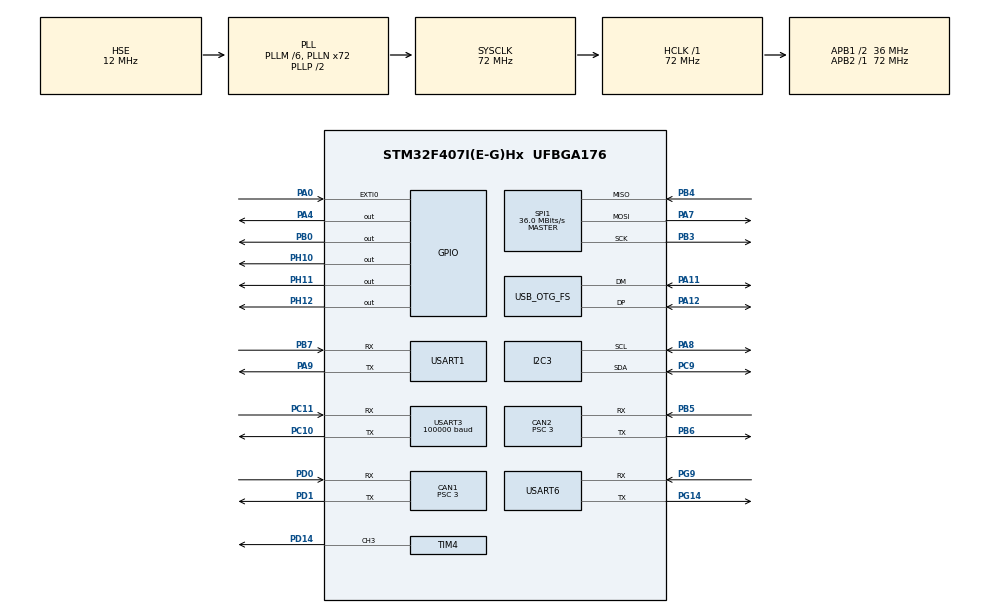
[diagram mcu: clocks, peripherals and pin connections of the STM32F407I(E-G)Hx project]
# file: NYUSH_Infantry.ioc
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CAN1.BS1=CAN_BS1_9TQ
CAN1.BS2=CAN_BS2_2TQ
CAN1.CalculateBaudRate=999999
CAN1.CalculateTimeBit=1000
CAN1.CalculateTimeQuantum=83.33333333333334
CAN1.Prescaler=3
CAN2.BS1=CAN_BS1_9TQ
CAN2.BS2=CAN_BS2_2TQ
CAN2.CalculateBaudRate=999999
CAN2.CalculateTimeBit=1000
CAN2.CalculateTimeQuantum=83.33333333333334
CAN2.Prescaler=3
Dma.Request0=SPI1_RX
Dma.Request1=SPI1_TX
Dma.Request2=USART1_TX
Dma.Request3=USART3_RX
Dma.Request4=USART1_RX
Dma.SPI1_RX.0.Direction=DMA_PERIPH_TO_MEMORY
Dma.SPI1_RX.0.FIFOMode=DMA_FIFOMODE_DISABLE
Dma.SPI1_RX.0.Instance=DMA2_Stream2
Dma.SPI1_RX.0.MemDataAlignment=DMA_MDATAALIGN_BYTE
Dma.SPI1_RX.0.MemInc=DMA_MINC_ENABLE
Dma.SPI1_RX.0.Mode=DMA_NORMAL
Dma.SPI1_RX.0.PeriphDataAlignment=DMA_PDATAALIGN_BYTE
Dma.SPI1_RX.0.PeriphInc=DMA_PINC_DISABLE
Dma.SPI1_RX.0.Priority=DMA_PRIORITY_VERY_HIGH
Dma.SPI1_TX.1.Direction=DMA_MEMORY_TO_PERIPH
Dma.SPI1_TX.1.FIFOMode=DMA_FIFOMODE_DISABLE
Dma.SPI1_TX.1.Instance=DMA2_Stream3
Dma.SPI1_TX.1.MemDataAlignment=DMA_MDATAALIGN_BYTE
Dma.SPI1_TX.1.MemInc=DMA_MINC_ENABLE
Dma.SPI1_TX.1.Mode=DMA_NORMAL
Dma.SPI1_TX.1.PeriphDataAlignment=DMA_PDATAALIGN_BYTE
Dma.SPI1_TX.1.PeriphInc=DMA_PINC_DISABLE
Dma.SPI1_TX.1.Priority=DMA_PRIORITY_HIGH
Dma.USART1_RX.4.Direction=DMA_PERIPH_TO_MEMORY
Dma.USART1_RX.4.FIFOMode=DMA_FIFOMODE_DISABLE
Dma.USART1_RX.4.Instance=DMA2_Stream5
Dma.USART1_RX.4.MemDataAlignment=DMA_MDATAALIGN_BYTE
Dma.USART1_RX.4.MemInc=DMA_MINC_ENABLE
Dma.USART1_RX.4.Mode=DMA_NORMAL
Dma.USART1_RX.4.PeriphDataAlignment=DMA_PDATAALIGN_BYTE
Dma.USART1_RX.4.PeriphInc=DMA_PINC_DISABLE
Dma.USART1_RX.4.Priority=DMA_PRIORITY_VERY_HIGH
Dma.USART1_TX.2.Direction=DMA_MEMORY_TO_PERIPH
Dma.USART1_TX.2.FIFOMode=DMA_FIFOMODE_DISABLE
Dma.USART1_TX.2.Instance=DMA2_Stream7
Dma.USART1_TX.2.MemDataAlignment=DMA_MDATAALIGN_BYTE
Dma.USART1_TX.2.MemInc=DMA_MINC_ENABLE
Dma.USART1_TX.2.Mode=DMA_NORMAL
Dma.USART1_TX.2.PeriphDataAlignment=DMA_PDATAALIGN_BYTE
Dma.USART1_TX.2.PeriphInc=DMA_PINC_DISABLE
Dma.USART1_TX.2.Priority=DMA_PRIORITY_VERY_HIGH
Dma.USART3_RX.3.Direction=DMA_PERIPH_TO_MEMORY
Dma.USART3_RX.3.FIFOMode=DMA_FIFOMODE_DISABLE
Dma.USART3_RX.3.Instance=DMA1_Stream1
Dma.USART3_RX.3.MemDataAlignment=DMA_MDATAALIGN_BYTE
Dma.USART3_RX.3.MemInc=DMA_MINC_ENABLE
Dma.USART3_RX.3.Mode=DMA_NORMAL
Dma.USART3_RX.3.PeriphDataAlignment=DMA_PDATAALIGN_BYTE
Dma.USART3_RX.3.PeriphInc=DMA_PINC_DISABLE
Dma.USART3_RX.3.Priority=DMA_PRIORITY_LOW
I2C3.I2C_Mode=I2C_Fast
Mcu.Family=STM32F4
Mcu.Name=STM32F407I(E-G)Hx
Mcu.Package=UFBGA176
NVIC.CAN1_RX0_IRQn=true\:0\:0\:false\:false\:true\:true\:true\:true
NVIC.CAN2_RX0_IRQn=true\:0\:0\:false\:false\:true\:true\:true\:true
NVIC.DMA1_Stream1_IRQn=true\:5\:0\:false\:false\:true\:false\:true\:true
NVIC.DMA2_Stream2_IRQn=true\:0\:0\:false\:false\:true\:false\:true\:true
NVIC.DMA2_Stream3_IRQn=true\:0\:0\:false\:false\:true\:false\:true\:true
NVIC.DMA2_Stream5_IRQn=true\:0\:0\:false\:false\:true\:false\:true\:true
NVIC.DMA2_Stream7_IRQn=true\:0\:0\:false\:false\:true\:false\:true\:true
NVIC.EXTI0_IRQn=true\:0\:0\:false\:false\:true\:true\:true\:true
NVIC.OTG_FS_IRQn=true\:0\:0\:false\:false\:true\:false\:true\:true
NVIC.PriorityGroup=NVIC_PRIORITYGROUP_4
NVIC.USART1_IRQn=true\:0\:0\:false\:false\:true\:true\:true\:true
NVIC.USART3_IRQn=true\:5\:0\:false\:false\:true\:true\:true\:true
NVIC.USART6_IRQn=true\:0\:0\:false\:false\:true\:true\:true\:true
PA0-WKUP.Signal=GPXTI0
PA11.Mode=Device_Only
PA11.Signal=USB_OTG_FS_DM
PA12.Mode=Device_Only
PA12.Signal=USB_OTG_FS_DP
PA13.Mode=Serial_Wire
PA13.Signal=SYS_JTMS-SWDIO
PA14.Mode=Serial_Wire
PA14.Signal=SYS_JTCK-SWCLK
PA4.Signal=GPIO_Output
PA7.Mode=Full_Duplex_Master
PA7.Signal=SPI1_MOSI
PA8.Mode=I2C
PA8.Signal=I2C3_SCL
PA9.Mode=Asynchronous
PA9.Signal=USART1_TX
PB0.Signal=GPIO_Output
PB3.Mode=Full_Duplex_Master
PB3.Signal=SPI1_SCK
PB4.Mode=Full_Duplex_Master
PB4.Signal=SPI1_MISO
PB5.Mode=CAN_Activate
PB5.Signal=CAN2_RX
PB6.Mode=CAN_Activate
PB6.Signal=CAN2_TX
PB7.Mode=Asynchronous
PB7.Signal=USART1_RX
PC10.Mode=Asynchronous
PC10.Signal=USART3_TX
PC11.Mode=Asynchronous
PC11.Signal=USART3_RX
PC9.Mode=I2C
PC9.Signal=I2C3_SDA
PD0.Mode=CAN_Activate
PD0.Signal=CAN1_RX
PD1.Mode=CAN_Activate
PD1.Signal=CAN1_TX
PD14.Signal=S_TIM4_CH3
PG14.Mode=Asynchronous
PG14.Signal=USART6_TX
PG9.Mode=Asynchronous
PG9.Signal=USART6_RX
PH0-OSC_IN.Mode=HSE-External-Oscillator
PH0-OSC_IN.Signal=RCC_OSC_IN
PH1-OSC_OUT.Mode=HSE-External-Oscillator
PH1-OSC_OUT.Signal=RCC_OSC_OUT
PH10.Signal=GPIO_Output
PH11.Signal=GPIO_Output
PH12.Signal=GPIO_Output
ProjectManager.HeapSize=0x200
ProjectManager.StackSize=0x400
ProjectManager.TargetToolchain=CMake
RCC.48MHZClocksFreq_Value=48000000
RCC.AHBFreq_Value=72000000
RCC.APB1CLKDivider=RCC_HCLK_DIV2
RCC.APB1Freq_Value=36000000
RCC.APB1TimFreq_Value=72000000
RCC.APB2Freq_Value=72000000
RCC.APB2TimFreq_Value=72000000
RCC.CortexFreq_Value=72000000
RCC.HCLKFreq_Value=72000000
RCC.HSE_VALUE=12000000
RCC.HSI_VALUE=16000000
RCC.LSE_VALUE=32768
RCC.PLLM=6
RCC.PLLN=72
RCC.PLLQ=3
RCC.SYSCLKFreq_VALUE=72000000
RCC.SYSCLKSource=RCC_SYSCLKSOURCE_PLLCLK
RCC.VCOOutputFreq_Value=144000000
SH.S_TIM4_CH3.0=TIM4_CH3,PWM Generation3 CH3
SPI1.CalculateBaudRate=36.0 MBits/s
SPI1.Direction=SPI_DIRECTION_2LINES
SPI1.Mode=SPI_MODE_MASTER
SPI1.VirtualType=VM_MASTER
TIM4.Channel-PWM\ Generation3\ CH3=TIM_CHANNEL_3
TIM4.Period=20999
USART1.VirtualMode=VM_ASYNC
USART3.BaudRate=100000
USART3.Parity=PARITY_EVEN
USART3.VirtualMode=VM_ASYNC
USART3.WordLength=WORDLENGTH_9B
USART6.VirtualMode=VM_ASYNC
USB_DEVICE.CLASS_NAME_FS=CDC
USB_DEVICE.VirtualMode-CDC_FS=Cdc
USB_DEVICE.VirtualModeFS=Cdc_FS
USB_OTG_FS.VirtualMode=Device_Only
VP_TIM4_VS_ClockSourceINT.Mode=Internal
VP_USB_DEVICE_VS_USB_DEVICE_CDC_FS.Mode=CDC_FS
board=custom

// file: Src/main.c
/* USER CODE BEGIN Header */
/**
  ******************************************************************************
  * @file           : main.c
  * @brief          : Main program body
  ******************************************************************************
  * @attention
  *
  * Copyright (c) 2025 STMicroelectronics.
  * All rights reserved.
  *
  * This software is licensed under terms that can be found in the LICENSE file
  * in the root directory of this software component.
  * If no LICENSE file comes with this software, it is provided AS-IS.
  *
  ******************************************************************************
  */
/* USER CODE END Header */
#include "main.h"
#include "can.h"
#include "dma.h"
#include "i2c.h"
#include "spi.h"
#include "tim.h"
#include "usart.h"
#include "usb_device.h"
#include "gpio.h"

/* USER CODE BEGIN Includes */
#include "bmi088driver.h"
#include "buzzer.h"
#include "usbd_cdc_if.h"
#include <stdint.h>
#include <stdbool.h>
#include <string.h>
#include "remote_control.h"
#include "bsp_rc.h"
#include "chassis_controller.h"
#include "shooter_controller.h"
#include "gimbal_controller.h"
#include "motor_driver.h"
#include "can_manager.h"
#include "motor_registry.h"
#include "robot_config.h"
#include <stdarg.h>
#include <math.h>
#include "printing.h"
#include "wt61c.h"
#include "gyro_data.h"
#include "message_center.h"
#include "app_subscriptions.h"
#include "cmd_controller.h"
#include "vision_comm.h"
#include "logger.h"
#include "motor_offline_alarm.h"

/* USER CODE END Includes */

/* USER CODE BEGIN PD */

// Minimized delays for maximum response speed
#define WAIT_ESC_BOOT_MS                (200U)  // Reduced from 500ms → 200ms
#define CMD_REFRESH_INTERVAL_MS         (1U)    // 1000Hz main loop (reduced from 2ms for lower latency)
// RC loss timeout for health gating
#define RC_LOSS_TIMEOUT_MS              (200U)
// USART6 hello message send interval
#define USART6_SEND_INTERVAL_MS         (1000U)

/* USER CODE END PD */

/* USER CODE BEGIN PV */

// CAN managers
CAN_Manager_t can1_manager;
CAN_Manager_t can2_manager;

// Motor registry storage (one per CAN channel)
static MotorRegistry_t can1_registry;
static MotorRegistry_t can2_registry;

float gyro[3], accel[3], temp;

// WT61C-TTL IMU sensor on USART1
#define WT61C_UART_HANDLE  huart1
#define RX_DMA_BUF_SZ 256
static uint8_t wt61c_rxbuf[RX_DMA_BUF_SZ];

// Message center buffer
#define MSG_CENTER_QUEUE_LEN 128
static MsgEvent g_msg_queue[MSG_CENTER_QUEUE_LEN];

// RC logging
static uint32_t s_rc_frame_counter = 0;

/* USER CODE END PV */

void SystemClock_Config(void);
/* USER CODE BEGIN PFP */

static void LED_SetRGB(uint8_t r, uint8_t g, uint8_t b);
static void Gimbal_HoldPosition_Callback(void);
static void on_rc_update(const MsgEvent *ev, void *user);

SensorData sensor_data;

/* USER CODE END PFP */

/* USER CODE BEGIN 0 */

/*
CAN receive callback - delegate to CAN manager
这个函数是stm官方自带的软函数，作用就是如果有更新可以中断主循环
*/
void HAL_CAN_RxFifo0MsgPendingCallback(CAN_HandleTypeDef *hcan)
{
  /*这个函数查看can manager.c的定义，*/
  CAN_Manager_GlobalCallback(hcan);
}

/**
 * @brief RC update callback for logging (runs in main loop context, not ISR)
 */
static void on_rc_update(const MsgEvent *ev, void *user)
{
  (void)user;
  if (ev->size == sizeof(RC_ctrl_t)) {
    const RC_ctrl_t *rc = (const RC_ctrl_t *)ev->data;
    s_rc_frame_counter++;

  /*这个只是日志打印，具体查看remote_control的定义*/
    // Log RC data (safe to call in main loop context)
    LOG_CSV(LOG_TAG_RC, "%lu,%d,%d,%d,%d,%d,%u,%u",
            (unsigned long)s_rc_frame_counter,
            (int)rc->rc.ch[0], (int)rc->rc.ch[1],
            (int)rc->rc.ch[2], (int)rc->rc.ch[3],
            (int)rc->rc.ch[4],
            (unsigned int)rc->rc.s[0], (unsigned int)rc->rc.s[1]);
  }
}

/**
 * @brief Callback function to hold gimbal position during calibration
 * @note This function is called every ~1ms during gyro calibration to keep
 *       the gimbal motors actively holding their position.
 * 初始化时防止因重力低头的程序，每5ms一次，个人认为应该优化，至少不应该放在这里
 */
static void Gimbal_HoldPosition_Callback(void)
{
  static uint32_t call_count = 0;
  call_count++;

  // Only send command and dispatch every 5ms to reduce overhead
  if (call_count % 5 == 0) {
    GimbalCmd cmd = {
      .enabled = true,
      .pitch_rate = 0.0f,
      .yaw_rate = 0.0f,
      .yaw_rate_memo = 0.0f,
      .yaw_target_memo = 0.0f,
      .vision_valid = false,
      .vision_yaw_err_rad = 0.0f,
      .vision_pitch_err_rad = 0.0f,
      .vision_ts_ms = 0
    };

    MsgCenter_Publish(TOPIC_GIMBAL_CMD, &cmd, sizeof(cmd));
    MsgCenter_Dispatch();  // Process messages immediately
  }
}

/* USER CODE END 0 */

int main(void)
{

  /* USER CODE BEGIN 1 */
  // Optional: initial tiny transmission (currently disabled)
  // USB_CDC_SendString("\r\n");

  /* USER CODE END 1 */

  /* MCU Configuration--------------------------------------------------------*/

  /* Reset of all peripherals, Initializes the Flash interface and the Systick. */
  HAL_Init();

  /* Configure the system clock */
  SystemClock_Config();

  /* Initialize all configured peripherals */
  MX_GPIO_Init();
  MX_DMA_Init();
  MX_CAN1_Init();
  MX_CAN2_Init();
  MX_SPI1_Init();
  MX_I2C3_Init();
  MX_USART1_UART_Init();
  MX_USART3_UART_Init();
  MX_USB_DEVICE_Init();
  MX_TIM4_Init();
  MX_USART6_UART_Init();
  /* USER CODE BEGIN 2 */

  // === LED: RED - Hardware initialized, starting software init 这是最简洁的灯语控制，可以修改三个参数自己组合颜色判断状态 ===
  LED_SetRGB(1, 0, 0);

  // Print boot message
  LOG_INFO(LOG_TAG_SYS, "\r\n========================================");
  LOG_INFO(LOG_TAG_SYS, "   RoboMaster Control System Boot");
  LOG_INFO(LOG_TAG_SYS, "========================================");

  // Initialize buzzer
  Buzzer_Init();

  // Initialize BMI088 with diagnostics
  BMI088_InitWithDiagnostics();

  // Initialize message center (needed for gimbal communication)
  MsgCenter_Init(g_msg_queue, MSG_CENTER_QUEUE_LEN);
  remote_control_init();

  // Initialize logger module
  Logger_Init();
  // Configure logger rates for different subsystems，去logger里面找具体定义
  Logger_SetRate(LOG_TAG_CMD, 100);   // 10Hz for command controller CSV (SPINDBG)
  Logger_SetRate(LOG_TAG_IMU, 100);   // 10Hz for IMU CSV data
  Logger_SetRate(LOG_TAG_GIM, 50);    // 20Hz for gimbal PID tuning (PITCH/YAW_CSV)
  Logger_SetRate(LOG_TAG_RC, 0);      // No rate limit for RC (full 100Hz+ output)
  Logger_SetRate(LOG_TAG_CHA, 200);   // 5Hz for chassis status
  Logger_SetRate(LOG_TAG_SEN, 200);   // 5Hz for sentry status
  Logger_SetRate(LOG_TAG_SYS, 0);     // No rate limit for system messages
  Logger_SetRate(LOG_TAG_MOT, 0);     // No rate limit for motor init messages

  // === LED: YELLOW - CAN and motor initialization ===
  LED_SetRGB(1, 1, 0);

  // Initialize CAN managers early (needed for gimbal motors)
  const RobotConfig_t *robot_cfg = RobotConfig_Get();
  CAN_Manager_Init(&can1_manager, CAN_CHANNEL_1, &hcan1, robot_cfg, &can1_registry);
  CAN_Manager_Init(&can2_manager, CAN_CHANNEL_2, &hcan2, robot_cfg, &can2_registry);
  CAN_Manager_Start(&can1_manager);
  CAN_Manager_Start(&can2_manager);

  // Initialize motor driver module (loads config and initializes all motors)
  MotorDriver_ModuleInit();

  // Initialize gimbal early (before calibration)
  GimbalApp_Init();

  // CAN bus stabilization (removed delay for faster boot)
  LOG_INFO(LOG_TAG_SYS, "Starting system...");
  // HAL_Delay(200);  // Removed - CAN bus starts immediately

  // === LED: CYAN - Gimbal alignment ===
  LED_SetRGB(0, 1, 1);

  // Wait for gimbal to reach initial alignment position (if gimbal exists)
  if (robot_cfg->gimbal_motor_count > 0) {
    Gimbal_WaitForAlignment();
  }

  // Perform IMU calibration if enabled in robot configuration
  if (robot_cfg->enable_imu_calibration) {
    // Now start IMU calibration with gimbal in position
    LOG_INFO(LOG_TAG_SYS, "");
    LOG_INFO(LOG_TAG_SYS, "=== Starting IMU Calibration ===");
    LOG_INFO(LOG_TAG_SYS, "Keep the robot still!");

    // Set LED to blue during calibration
    LED_SetRGB(0, 0, 1);

    // Set callback to keep gimbal holding position during calibration
    if (robot_cfg->gimbal_motor_count > 0) {
      gyro_calibrate_set_callback(Gimbal_HoldPosition_Callback);
    }

    // Perform gyro calibration
    gyro_calibrate();

    LOG_INFO(LOG_TAG_SYS, "=== IMU Calibration Complete ===");
    LOG_INFO(LOG_TAG_SYS, "");

    // Clear the callback since CmdController will take over
    gyro_calibrate_set_callback(NULL);
  } else {
    LOG_INFO(LOG_TAG_SYS, "IMU calibration disabled for this robot type");
  }

  // === LED: MAGENTA - Application controllers initialization ===
  LED_SetRGB(1, 0, 1);

  // Continue with remaining initialization
  // Initialize command controller (central control)
  CmdController_Init();

  // Initialize remaining application controllers
  ChassisApp_Init();
  ShooterApp_Init();

  // Align swerve steer motors to initial position (sentry_swerve only)
  #if defined(ROBOT_TYPE_sentry_swerve)
  // LED: PURPLE (dimmer magenta) - Swerve steer alignment
  LED_SetRGB(1, 0, 1);
  Sentry_WaitForSteerAlignment();
  #endif

  // === LED: WHITE - Final peripherals initialization ===
  LED_SetRGB(1, 1, 1);

  // Subscribe to RC updates for logging (in main loop context, not ISR)
  MsgCenter_Subscribe(TOPIC_RC_UPDATE, on_rc_update, NULL);

  // Initialize Vision Communication
  VisionComm_Init();

  // Wait for ESC boot
  HAL_Delay(WAIT_ESC_BOOT_MS);

  // Initialize WT61C-TTL IMU sensor on USART1
  WT61C_Init(&WT61C_UART_HANDLE);
  // Start UART DMA reception with idle line detection
  HAL_UARTEx_ReceiveToIdle_DMA(&WT61C_UART_HANDLE, wt61c_rxbuf, RX_DMA_BUF_SZ);
  // Disable half-transfer interrupt to reduce callback overhead
  __HAL_DMA_DISABLE_IT(WT61C_UART_HANDLE.hdmarx, DMA_IT_HT);

  LOG_INFO(LOG_TAG_SYS, "");
  LOG_INFO(LOG_TAG_SYS, "=== System Ready ===");
  LOG_INFO(LOG_TAG_SYS, "");

  // === LED: GREEN - System ready, entering main loop ===
  LED_SetRGB(0, 1, 0);

  /* USER CODE END 2 */

  /* Infinite loop */
  /* USER CODE BEGIN WHILE */
  // CAN statistics logging
  static uint32_t can_log_timer = 0;
  static uint32_t last_can1_rx = 0;
  static uint32_t last_can2_rx = 0;

  while (1)
  {
    uint32_t current_tick = HAL_GetTick();

    // Update sensor data and publishes IMU topic
    gyro_data_update(&sensor_data);

    CmdController_Task(current_tick);

    // Dispatch message center events
    MsgCenter_Dispatch();

    MotorOfflineAlarm_Task(HAL_GetTick());

    // CAN health check (1Hz)
    if (current_tick - can_log_timer >= 1000) {
      can_log_timer = current_tick;
      uint32_t can1_delta = can1_manager.rx_frames - last_can1_rx;
      uint32_t can2_delta = can2_manager.rx_frames - last_can2_rx;
      last_can1_rx = can1_manager.rx_frames;
      last_can2_rx = can2_manager.rx_frames;

      LOG_CSV(LOG_TAG_CAN, "1,%u,0x%03X,%u,2,%u,0x%03X,%u",
              can1_manager.rx_frames,
              (unsigned int)can1_manager.last_rx_id,
              (unsigned int)can1_delta,
              can2_manager.rx_frames,
              (unsigned int)can2_manager.last_rx_id,
              (unsigned int)can2_delta);
    }

	  HAL_Delay(CMD_REFRESH_INTERVAL_MS);
    /* USER CODE END WHILE */
  }
}

void SystemClock_Config(void)
{
  RCC_OscInitTypeDef RCC_OscInitStruct = {0};
  RCC_ClkInitTypeDef RCC_ClkInitStruct = {0};

  /** Configure the main internal regulator output voltage
  */
  __HAL_RCC_PWR_CLK_ENABLE();
  __HAL_PWR_VOLTAGESCALING_CONFIG(PWR_REGULATOR_VOLTAGE_SCALE1);

  /** Initializes the RCC Oscillators according to the specified parameters
  * in the RCC_OscInitTypeDef structure.
  */
  RCC_OscInitStruct.OscillatorType = RCC_OSCILLATORTYPE_HSE;
  RCC_OscInitStruct.HSEState = RCC_HSE_ON;
  RCC_OscInitStruct.PLL.PLLState = RCC_PLL_ON;
  RCC_OscInitStruct.PLL.PLLSource = RCC_PLLSOURCE_HSE;
  RCC_OscInitStruct.PLL.PLLM = 6;
  RCC_OscInitStruct.PLL.PLLN = 72;
  RCC_OscInitStruct.PLL.PLLP = RCC_PLLP_DIV2;
  RCC_OscInitStruct.PLL.PLLQ = 3;
  if (HAL_RCC_OscConfig(&RCC_OscInitStruct) != HAL_OK)
  {
    Error_Handler();
  }

  /** Initializes the CPU, AHB and APB buses clocks
  */
  RCC_ClkInitStruct.ClockType = RCC_CLOCKTYPE_HCLK|RCC_CLOCKTYPE_SYSCLK
                              |RCC_CLOCKTYPE_PCLK1|RCC_CLOCKTYPE_PCLK2;
  RCC_ClkInitStruct.SYSCLKSource = RCC_SYSCLKSOURCE_PLLCLK;
  RCC_ClkInitStruct.AHBCLKDivider = RCC_SYSCLK_DIV1;
  RCC_ClkInitStruct.APB1CLKDivider = RCC_HCLK_DIV2;
  RCC_ClkInitStruct.APB2CLKDivider = RCC_HCLK_DIV1;

  if (HAL_RCC_ClockConfig(&RCC_ClkInitStruct, FLASH_LATENCY_2) != HAL_OK)
  {
    Error_Handler();
  }
}

/* USER CODE BEGIN 4 */

/*
Set LED
*/
static void LED_SetRGB(uint8_t r, uint8_t g, uint8_t b)
{
  HAL_GPIO_WritePin(GPIOH, GPIO_PIN_12, r ? GPIO_PIN_SET : GPIO_PIN_RESET); // R
  HAL_GPIO_WritePin(GPIOH, GPIO_PIN_11, g ? GPIO_PIN_SET : GPIO_PIN_RESET); // G
  HAL_GPIO_WritePin(GPIOH, GPIO_PIN_10, b ? GPIO_PIN_SET : GPIO_PIN_RESET); // B
}

/*
UART DMA/Idle callback for WT61C sensor data reception
*/
void HAL_UARTEx_RxEventCallback(UART_HandleTypeDef *huart, uint16_t Size)
{
  if (huart == &huart3) {
    BspRc_OnRxEvent(Size);
    return;
  }
  if (huart == &WT61C_UART_HANDLE) {
    // Process received data
    WT61C_ProcessBytes(wt61c_rxbuf, Size);
    // Restart DMA reception
    HAL_UARTEx_ReceiveToIdle_DMA(&WT61C_UART_HANDLE, wt61c_rxbuf, RX_DMA_BUF_SZ);
    __HAL_DMA_DISABLE_IT(WT61C_UART_HANDLE.hdmarx, DMA_IT_HT);
  }
  // Note: Vision communication now uses USB CDC instead of USART6
  // The CDC_Receive_FS callback in usbd_cdc_if.c handles vision data reception
}

/* USER CODE END 4 */

void Error_Handler(void)
{
  __disable_irq();
  while (1)
  {
  }
}
